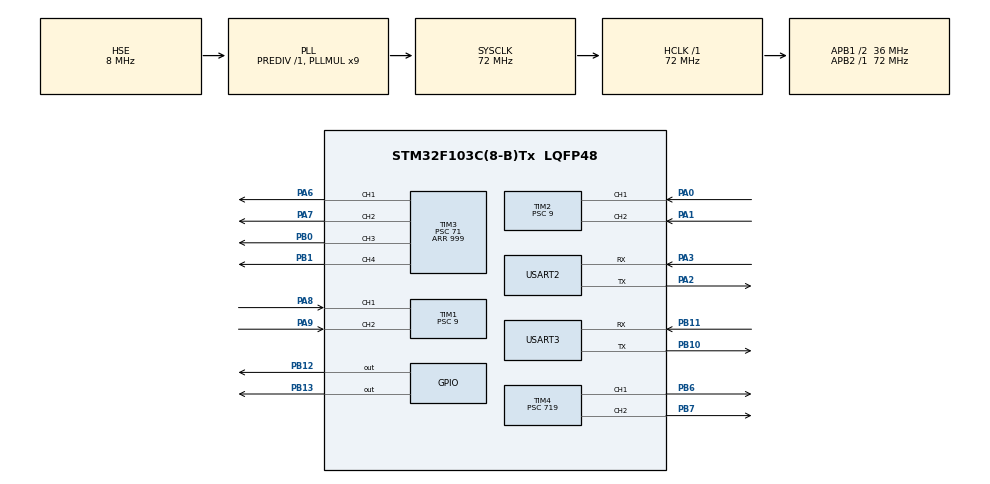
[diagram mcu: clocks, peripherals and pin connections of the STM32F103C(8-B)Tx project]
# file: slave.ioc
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Dma.Request0=USART2_RX
Dma.Request1=USART2_TX
Dma.Request2=USART3_RX
Dma.Request3=USART3_TX
Dma.USART2_RX.0.Direction=DMA_PERIPH_TO_MEMORY
Dma.USART2_RX.0.Instance=DMA1_Channel6
Dma.USART2_RX.0.MemDataAlignment=DMA_MDATAALIGN_BYTE
Dma.USART2_RX.0.MemInc=DMA_MINC_ENABLE
Dma.USART2_RX.0.Mode=DMA_NORMAL
Dma.USART2_RX.0.PeriphDataAlignment=DMA_PDATAALIGN_BYTE
Dma.USART2_RX.0.PeriphInc=DMA_PINC_DISABLE
Dma.USART2_RX.0.Priority=DMA_PRIORITY_LOW
Dma.USART2_TX.1.Direction=DMA_MEMORY_TO_PERIPH
Dma.USART2_TX.1.Instance=DMA1_Channel7
Dma.USART2_TX.1.MemDataAlignment=DMA_MDATAALIGN_BYTE
Dma.USART2_TX.1.MemInc=DMA_MINC_ENABLE
Dma.USART2_TX.1.Mode=DMA_NORMAL
Dma.USART2_TX.1.PeriphDataAlignment=DMA_PDATAALIGN_BYTE
Dma.USART2_TX.1.PeriphInc=DMA_PINC_DISABLE
Dma.USART2_TX.1.Priority=DMA_PRIORITY_LOW
Dma.USART3_RX.2.Direction=DMA_PERIPH_TO_MEMORY
Dma.USART3_RX.2.Instance=DMA1_Channel3
Dma.USART3_RX.2.MemDataAlignment=DMA_MDATAALIGN_BYTE
Dma.USART3_RX.2.MemInc=DMA_MINC_ENABLE
Dma.USART3_RX.2.Mode=DMA_NORMAL
Dma.USART3_RX.2.PeriphDataAlignment=DMA_PDATAALIGN_BYTE
Dma.USART3_RX.2.PeriphInc=DMA_PINC_DISABLE
Dma.USART3_RX.2.Priority=DMA_PRIORITY_LOW
Dma.USART3_TX.3.Direction=DMA_MEMORY_TO_PERIPH
Dma.USART3_TX.3.Instance=DMA1_Channel2
Dma.USART3_TX.3.MemDataAlignment=DMA_MDATAALIGN_BYTE
Dma.USART3_TX.3.MemInc=DMA_MINC_ENABLE
Dma.USART3_TX.3.Mode=DMA_NORMAL
Dma.USART3_TX.3.PeriphDataAlignment=DMA_PDATAALIGN_BYTE
Dma.USART3_TX.3.PeriphInc=DMA_PINC_DISABLE
Dma.USART3_TX.3.Priority=DMA_PRIORITY_LOW
Mcu.Family=STM32F1
Mcu.Name=STM32F103C(8-B)Tx
Mcu.Package=LQFP48
NVIC.DMA1_Channel2_IRQn=true\:0\:0\:false\:false\:true\:false\:true\:true
NVIC.DMA1_Channel3_IRQn=true\:0\:0\:false\:false\:true\:false\:true\:true
NVIC.DMA1_Channel6_IRQn=true\:0\:0\:false\:false\:true\:false\:true\:true
NVIC.DMA1_Channel7_IRQn=true\:0\:0\:false\:false\:true\:false\:true\:true
NVIC.PriorityGroup=NVIC_PRIORITYGROUP_4
NVIC.USART2_IRQn=true\:0\:0\:false\:false\:true\:true\:true\:true
NVIC.USART3_IRQn=true\:0\:0\:false\:false\:true\:true\:true\:true
PA0-WKUP.Signal=S_TIM2_CH1_ETR
PA1.Signal=S_TIM2_CH2
PA13.Mode=Serial_Wire
PA13.Signal=SYS_JTMS-SWDIO
PA14.Mode=Serial_Wire
PA14.Signal=SYS_JTCK-SWCLK
PA2.Mode=Asynchronous
PA2.Signal=USART2_TX
PA3.Mode=Asynchronous
PA3.Signal=USART2_RX
PA6.Signal=S_TIM3_CH1
PA7.Signal=S_TIM3_CH2
PA8.Signal=S_TIM1_CH1
PA9.Signal=S_TIM1_CH2
PB0.Signal=S_TIM3_CH3
PB1.Signal=S_TIM3_CH4
PB10.Mode=Asynchronous
PB10.Signal=USART3_TX
PB11.Mode=Asynchronous
PB11.Signal=USART3_RX
PB12.Signal=GPIO_Output
PB13.Signal=GPIO_Output
PB6.Signal=S_TIM4_CH1
PB7.Signal=S_TIM4_CH2
PD0-OSC_IN.Mode=HSE-External-Oscillator
PD0-OSC_IN.Signal=RCC_OSC_IN
PD1-OSC_OUT.Mode=HSE-External-Oscillator
PD1-OSC_OUT.Signal=RCC_OSC_OUT
ProjectManager.HeapSize=0x200
ProjectManager.StackSize=0x400
ProjectManager.TargetToolchain=MDK-ARM V5.32
RCC.AHBFreq_Value=72000000
RCC.APB1CLKDivider=RCC_HCLK_DIV2
RCC.APB1Freq_Value=36000000
RCC.APB1TimFreq_Value=72000000
RCC.APB2Freq_Value=72000000
RCC.APB2TimFreq_Value=72000000
RCC.HCLKFreq_Value=72000000
RCC.PLLMUL=RCC_PLL_MUL9
RCC.PLLSourceVirtual=RCC_PLLSOURCE_HSE
RCC.SYSCLKFreq_VALUE=72000000
RCC.SYSCLKSource=RCC_SYSCLKSOURCE_PLLCLK
RCC.USBFreq_Value=72000000
SH.S_TIM1_CH1.0=TIM1_CH1,Encoder_Interface
SH.S_TIM1_CH2.0=TIM1_CH2,Encoder_Interface
SH.S_TIM2_CH1_ETR.0=TIM2_CH1,Encoder_Interface
SH.S_TIM2_CH2.0=TIM2_CH2,Encoder_Interface
SH.S_TIM3_CH1.0=TIM3_CH1,PWM Generation1 CH1
SH.S_TIM3_CH2.0=TIM3_CH2,PWM Generation2 CH2
SH.S_TIM3_CH3.0=TIM3_CH3,PWM Generation3 CH3
SH.S_TIM3_CH4.0=TIM3_CH4,PWM Generation4 CH4
SH.S_TIM4_CH1.0=TIM4_CH1,PWM Generation1 CH1
SH.S_TIM4_CH2.0=TIM4_CH2,PWM Generation2 CH2
TIM1.Prescaler=9
TIM2.Prescaler=9
TIM3.Channel-PWM\ Generation1\ CH1=TIM_CHANNEL_1
TIM3.Channel-PWM\ Generation2\ CH2=TIM_CHANNEL_2
TIM3.Channel-PWM\ Generation3\ CH3=TIM_CHANNEL_3
TIM3.Channel-PWM\ Generation4\ CH4=TIM_CHANNEL_4
TIM3.Period=999
TIM3.Prescaler=71
TIM4.Channel-PWM\ Generation1\ CH1=TIM_CHANNEL_1
TIM4.Channel-PWM\ Generation2\ CH2=TIM_CHANNEL_2
TIM4.Period=1999
TIM4.Prescaler=719
USART2.VirtualMode=VM_ASYNC
USART3.VirtualMode=VM_ASYNC
VP_TIM3_VS_ClockSourceINT.Mode=Internal
VP_TIM4_VS_ClockSourceINT.Mode=Internal
board=custom

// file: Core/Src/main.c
/* USER CODE BEGIN Header */
/**
  ******************************************************************************
  * @file           : main.c
  * @brief          : Main program body
  ******************************************************************************
  * @attention
  *
  * Copyright (c) 2025 STMicroelectronics.
  * All rights reserved.
  *
  * This software is licensed under terms that can be found in the LICENSE file
  * in the root directory of this software component.
  * If no LICENSE file comes with this software, it is provided AS-IS.
  *
  ******************************************************************************
  */
/* USER CODE END Header */
#include "main.h"
#include "dma.h"
#include "tim.h"
#include "usart.h"
#include "gpio.h"

/* USER CODE BEGIN Includes */
#include "system_init.h"
#include "schedule.h"
#include "app_chassis.h"
/* USER CODE END Includes */

void SystemClock_Config(void);

/* USER CODE BEGIN 0 */
CHASSIS chassis;
Gimbal pitch;
Gimbal yaw;

/* USER CODE END 0 */

int main(void)
{

  /* MCU Configuration--------------------------------------------------------*/

  /* Reset of all peripherals, Initializes the Flash interface and the Systick. */
		HAL_Init();

  /* Configure the system clock */
  SystemClock_Config();

  /* Initialize all configured peripherals */
  MX_GPIO_Init();
  MX_DMA_Init();
  MX_TIM1_Init();
  MX_TIM2_Init();
  MX_TIM3_Init();
  MX_TIM4_Init();
  MX_USART2_UART_Init();
  MX_USART3_UART_Init();
  /* USER CODE BEGIN 2 */
	HAL_TIM_Encoder_Start(&htim1,TIM_CHANNEL_ALL);
	HAL_TIM_Encoder_Start(&htim2,TIM_CHANNEL_ALL);
	//HAL_TIM_PWM_Start(&htim3,TIM_CHANNEL_ALL);
	HAL_TIM_PWM_Start(&htim3,TIM_CHANNEL_1);
	HAL_TIM_PWM_Start(&htim3,TIM_CHANNEL_2);
	HAL_TIM_PWM_Start(&htim3,TIM_CHANNEL_3);
	HAL_TIM_PWM_Start(&htim3,TIM_CHANNEL_4);
	HAL_TIM_PWM_Start(&htim4,TIM_CHANNEL_1);
	HAL_TIM_PWM_Start(&htim4,TIM_CHANNEL_2);
	scheduler_init();
	chassis.Chassis_Init();
	yaw.PID_Init(0.00135,0,0,5,10);
	pitch.PID_Init(0.00135,0,0,5,10);
  /* USER CODE END 2 */

  /* Infinite loop */
  while (1)
  {

    /* USER CODE BEGIN 3 */
		scheduler_run();
  }
  /* USER CODE END 3 */
}

void SystemClock_Config(void)
{
  RCC_OscInitTypeDef RCC_OscInitStruct = {0};
  RCC_ClkInitTypeDef RCC_ClkInitStruct = {0};

  /** Initializes the RCC Oscillators according to the specified parameters
  * in the RCC_OscInitTypeDef structure.
  */
  RCC_OscInitStruct.OscillatorType = RCC_OSCILLATORTYPE_HSE;
  RCC_OscInitStruct.HSEState = RCC_HSE_ON;
  RCC_OscInitStruct.HSEPredivValue = RCC_HSE_PREDIV_DIV1;
  RCC_OscInitStruct.HSIState = RCC_HSI_ON;
  RCC_OscInitStruct.PLL.PLLState = RCC_PLL_ON;
  RCC_OscInitStruct.PLL.PLLSource = RCC_PLLSOURCE_HSE;
  RCC_OscInitStruct.PLL.PLLMUL = RCC_PLL_MUL9;
  if (HAL_RCC_OscConfig(&RCC_OscInitStruct) != HAL_OK)
  {
    Error_Handler();
  }

  /** Initializes the CPU, AHB and APB buses clocks
  */
  RCC_ClkInitStruct.ClockType = RCC_CLOCKTYPE_HCLK|RCC_CLOCKTYPE_SYSCLK
                              |RCC_CLOCKTYPE_PCLK1|RCC_CLOCKTYPE_PCLK2;
  RCC_ClkInitStruct.SYSCLKSource = RCC_SYSCLKSOURCE_PLLCLK;
  RCC_ClkInitStruct.AHBCLKDivider = RCC_SYSCLK_DIV1;
  RCC_ClkInitStruct.APB1CLKDivider = RCC_HCLK_DIV2;
  RCC_ClkInitStruct.APB2CLKDivider = RCC_HCLK_DIV1;

  if (HAL_RCC_ClockConfig(&RCC_ClkInitStruct, FLASH_LATENCY_2) != HAL_OK)
  {
    Error_Handler();
  }
}

void Error_Handler(void)
{
  __disable_irq();
  while (1)
  {
  }
}
